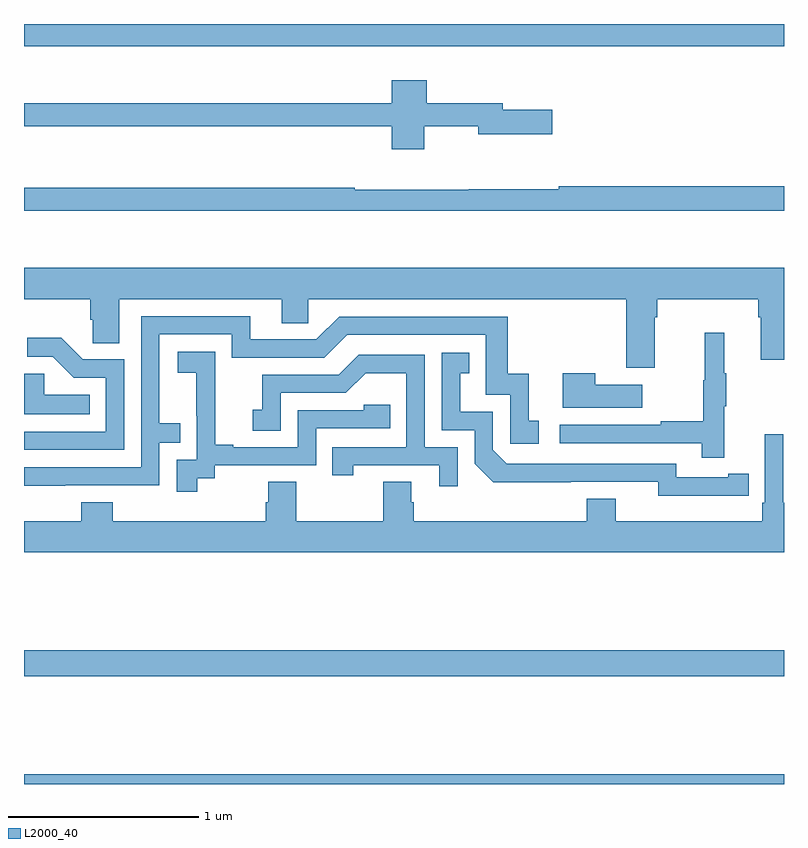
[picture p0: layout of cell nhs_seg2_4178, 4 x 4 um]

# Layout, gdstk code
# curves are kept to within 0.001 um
import gdstk
lib = gdstk.Library(unit=1e-6, precision=1e-09)
def R(c, l, rs):  # rectangles x0, y0, x1, y1
    for r in rs: c.add(gdstk.rectangle(r[:2], r[2:], *l))
def P(c, l, *ps):  # polygons
    for p in ps: c.add(gdstk.Polygon(p, *l))
L2000_40 = (2000, 40)

nhs_seg2_4178 = lib.new_cell('nhs_seg2_4178')
R(nhs_seg2_4178, L2000_40, [(337,595.8,341,595.852), (337,596.368,341,596.504), (337,599.684,341,599.8)])
P(nhs_seg2_4178, L2000_40, [(339.106,599.262),(339.392,599.262),(339.392,599.219),(339.781,599.219),(339.781,599.349),(339.52,599.349),(339.52,599.383),(339.119,599.383),(339.119,599.503),(338.936,599.503),(338.936,599.383),(337,599.383),(337,599.262),(338.936,599.262),(338.936,599.142),(339.106,599.142)],
  [(341,598.946),(339.814,598.946),(339.814,598.931),(339.341,598.931),(339.341,598.928),(338.741,598.928),(338.741,598.939),(337,598.939),(337,598.818),(341,598.818)],
  [(340.321,598.256),(340.334,598.256),(340.334,598.352),(340.865,598.352),(340.865,598.256),(340.877,598.256),(340.877,598.032),(341,598.032),(341,598.516),(337,598.516),(337,598.352),(337.349,598.352),(337.349,598.243),(337.362,598.243),(337.362,598.12),(337.501,598.12),(337.501,598.352),(338.357,598.352),(338.357,598.225),(338.496,598.225),(338.496,598.352),(340.169,598.352),(340.169,597.99),(340.321,597.99)],
  [(337.217,597.372),(337.713,597.372),(337.713,597.597),(337.823,597.597),(337.823,597.698),(337.713,597.698),(337.713,598.167),(338.094,598.167),(338.094,598.044),(338.58,598.044),(338.7,598.164),(339.429,598.164),(339.429,597.849),(339.558,597.849),(339.558,597.591),(339.709,597.591),(339.709,597.711),(339.656,597.711),(339.656,597.958),(339.545,597.958),(339.545,598.26),(338.658,598.26),(338.538,598.14),(338.191,598.14),(338.191,598.263),(337.617,598.263),(337.617,597.468),(337,597.468),(337,597.371)],
  [(340.685,597.787),(340.696,597.787),(340.696,597.961),(340.685,597.961),(340.685,598.174),(340.582,598.174),(340.582,597.924),(340.575,597.924),(340.575,597.71),(340.351,597.71),(340.351,597.69),(339.819,597.69),(339.819,597.594),(340.567,597.594),(340.567,597.516),(340.685,597.516)],
  [(337.527,598.035),(337.308,598.035),(337.195,598.148),(337.017,598.148),(337.017,598.05),(337.151,598.05),(337.262,597.939),(337.431,597.939),(337.431,597.654),(337,597.654),(337,597.558),(337.527,597.558)],
  [(337.912,597.409),(338.004,597.409),(338.004,597.477),(338.538,597.477),(338.538,597.672),(338.927,597.672),(338.927,597.795),(338.787,597.795),(338.787,597.768),(338.442,597.768),(338.442,597.573),(338.101,597.573),(338.101,597.586),(338.006,597.586),(338.006,597.869),(338.007,597.869),(338.007,598.075),(337.809,598.075),(337.809,597.965),(337.907,597.965),(337.907,597.737),(337.908,597.737),(337.908,597.507),(337.803,597.507),(337.803,597.339),(337.912,597.339)],
  [(340.706,597.318),(340.814,597.318),(340.814,597.434),(340.706,597.434),(340.706,597.414),(340.434,597.414),(340.434,597.486),(339.54,597.486),(339.468,597.558),(339.468,597.759),(339.295,597.759),(339.295,597.963),(339.344,597.963),(339.344,598.069),(339.198,598.069),(339.198,597.663),(339.372,597.663),(339.372,597.486),(339.47,597.389),(340.338,597.39),(340.338,597.317)],
  [(339.282,597.573),(339.108,597.573),(339.108,598.059),(338.762,598.059),(338.657,597.954),(338.254,597.954),(338.254,597.769),(338.205,597.769),(338.205,597.66),(338.352,597.66),(338.352,597.858),(338.694,597.858),(338.798,597.962),(339.012,597.962),(339.012,597.573),(338.623,597.573),(338.623,597.426),(338.734,597.426),(338.734,597.477),(339.185,597.477),(339.185,597.366),(339.282,597.366)],
  [(340.255,597.901),(340.007,597.901),(340.007,597.961),(339.836,597.961),(339.836,597.779),(340.255,597.779)],
  [(337.346,597.85),(337.107,597.85),(337.107,597.958),(337,597.958),(337,597.746),(337.346,597.746)],
  [(341,597.28),(340.996,597.28),(340.996,597.64),(340.899,597.64),(340.899,597.28),(340.886,597.28),(340.886,597.184),(340.114,597.184),(340.114,597.301),(339.962,597.301),(339.962,597.184),(339.05,597.184),(339.05,597.282),(339.037,597.282),(339.037,597.392),(338.89,597.392),(338.89,597.184),(338.433,597.184),(338.433,597.392),(338.285,597.392),(338.285,597.282),(338.273,597.282),(338.273,597.184),(337.466,597.184),(337.466,597.283),(337.301,597.283),(337.301,597.184),(337,597.184),(337,597.02),(341,597.02)])

lib.write_gds('nhs_seg2_4178.gds')
